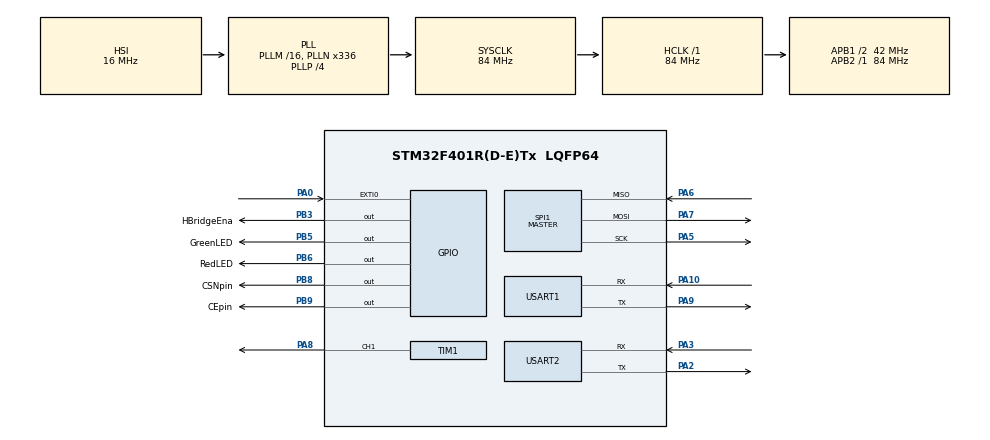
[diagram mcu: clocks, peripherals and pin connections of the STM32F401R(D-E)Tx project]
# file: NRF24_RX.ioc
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Mcu.Family=STM32F4
Mcu.Name=STM32F401R(D-E)Tx
Mcu.Package=LQFP64
NVIC.EXTI0_IRQn=true\:0\:0\:false\:false\:true\:true
NVIC.PriorityGroup=NVIC_PRIORITYGROUP_0
NVIC.TIM2_IRQn=true\:0\:0\:false\:false\:true\:true
NVIC.USART1_IRQn=true\:0\:0\:false\:false\:true\:true
PA0-WKUP.GPIO_ModeDefaultEXTI=GPIO_MODE_IT_FALLING
PA0-WKUP.Signal=GPXTI0
PA10.Mode=Asynchronous
PA10.Signal=USART1_RX
PA13.Mode=Serial_Wire
PA13.Signal=SYS_JTMS-SWDIO
PA14.Mode=Serial_Wire
PA14.Signal=SYS_JTCK-SWCLK
PA2.Mode=Asynchronous
PA2.Signal=USART2_TX
PA3.Mode=Asynchronous
PA3.Signal=USART2_RX
PA5.Mode=Full_Duplex_Master
PA5.Signal=SPI1_SCK
PA6.Mode=Full_Duplex_Master
PA6.Signal=SPI1_MISO
PA7.Mode=Full_Duplex_Master
PA7.Signal=SPI1_MOSI
PA8.Signal=S_TIM1_CH1
PA9.Mode=Asynchronous
PA9.Signal=USART1_TX
PB3.GPIO_Label=HBridgeEna
PB3.Signal=GPIO_Output
PB5.GPIO_Label=GreenLED
PB5.Signal=GPIO_Output
PB6.GPIO_Label=RedLED
PB6.Signal=GPIO_Output
PB8.GPIO_Label=CSNpin
PB8.Signal=GPIO_Output
PB9.GPIO_Label=CEpin
PB9.Signal=GPIO_Output
PH0\ -\ OSC_IN.Mode=HSE-External-Oscillator
PH0\ -\ OSC_IN.Signal=RCC_OSC_IN
PH1\ -\ OSC_OUT.Mode=HSE-External-Oscillator
PH1\ -\ OSC_OUT.Signal=RCC_OSC_OUT
ProjectManager.HeapSize=0x200
ProjectManager.StackSize=0x400
ProjectManager.TargetToolchain=SW4STM32
RCC.48MHZClocksFreq_Value=48000000
RCC.AHBFreq_Value=84000000
RCC.APB1CLKDivider=RCC_HCLK_DIV2
RCC.APB1Freq_Value=42000000
RCC.APB1TimFreq_Value=84000000
RCC.APB2Freq_Value=84000000
RCC.APB2TimFreq_Value=84000000
RCC.CortexFreq_Value=84000000
RCC.HCLKFreq_Value=84000000
RCC.HSE_VALUE=8000000
RCC.HSI_VALUE=16000000
RCC.LSE_VALUE=32768
RCC.PLLN=336
RCC.PLLP=RCC_PLLP_DIV4
RCC.PLLQ=7
RCC.SYSCLKFreq_VALUE=84000000
RCC.SYSCLKSource=RCC_SYSCLKSOURCE_PLLCLK
RCC.VCOOutputFreq_Value=336000000
SH.S_TIM1_CH1.0=TIM1_CH1,PWM Generation1 CH1
SPI1.BaudRatePrescaler=SPI_BAUDRATEPRESCALER_32
SPI1.Direction=SPI_DIRECTION_2LINES
SPI1.Mode=SPI_MODE_MASTER
SPI1.VirtualType=VM_MASTER
TIM1.Channel-PWM\ Generation1\ CH1=TIM_CHANNEL_1
TIM1.Period=100
TIM1.Prescaler=84
TIM1.Pulse-PWM\ Generation1\ CH1=50
TIM2.Period=2000
TIM2.Prescaler=42000
TIM2.TIM_MasterOutputTrigger=TIM_TRGO_UPDATE
USART1.VirtualMode=VM_ASYNC
USART2.VirtualMode=VM_ASYNC
VP_TIM2_VS_ClockSourceINT.Mode=Internal
board=NUCLEO-F401RE

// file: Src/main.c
/**
  ******************************************************************************
  * @file           : main.c
  * @brief          : Main program body
  ******************************************************************************
  ** This notice applies to any and all portions of this file
  * that are not between comment pairs USER CODE BEGIN and
  * USER CODE END. Other portions of this file, whether
  * inserted by the user or by software development tools
  * are owned by their respective copyright owners.
  *
  * COPYRIGHT(c) 2019 STMicroelectronics
  *
  * Redistribution and use in source and binary forms, with or without modification,
  * are permitted provided that the following conditions are met:
  *   1. Redistributions of source code must retain the above copyright notice,
  *      this list of conditions and the following disclaimer.
  *   2. Redistributions in binary form must reproduce the above copyright notice,
  *      this list of conditions and the following disclaimer in the documentation
  *      and/or other materials provided with the distribution.
  *   3. Neither the name of STMicroelectronics nor the names of its contributors
  *      may be used to endorse or promote products derived from this software
  *      without specific prior written permission.
  *
  * THIS SOFTWARE IS PROVIDED BY THE COPYRIGHT HOLDERS AND CONTRIBUTORS "AS IS"
  * AND ANY EXPRESS OR IMPLIED WARRANTIES, INCLUDING, BUT NOT LIMITED TO, THE
  * IMPLIED WARRANTIES OF MERCHANTABILITY AND FITNESS FOR A PARTICULAR PURPOSE ARE
  * DISCLAIMED. IN NO EVENT SHALL THE COPYRIGHT HOLDER OR CONTRIBUTORS BE LIABLE
  * FOR ANY DIRECT, INDIRECT, INCIDENTAL, SPECIAL, EXEMPLARY, OR CONSEQUENTIAL
  * DAMAGES (INCLUDING, BUT NOT LIMITED TO, PROCUREMENT OF SUBSTITUTE GOODS OR
  * SERVICES; LOSS OF USE, DATA, OR PROFITS; OR BUSINESS INTERRUPTION) HOWEVER
  * CAUSED AND ON ANY THEORY OF LIABILITY, WHETHER IN CONTRACT, STRICT LIABILITY,
  * OR TORT (INCLUDING NEGLIGENCE OR OTHERWISE) ARISING IN ANY WAY OUT OF THE USE
  * OF THIS SOFTWARE, EVEN IF ADVISED OF THE POSSIBILITY OF SUCH DAMAGE.
  *
  ******************************************************************************
  */
#include "main.h"
#include "stm32f4xx_hal.h"

/* USER CODE BEGIN Includes */
#include "MY_NRF24.h"
#include "dwt_stm32_delay.h"
#include "stdbool.h"
/* USER CODE END Includes */

SPI_HandleTypeDef hspi1;

TIM_HandleTypeDef htim1;
TIM_HandleTypeDef htim2;

UART_HandleTypeDef huart1;
UART_HandleTypeDef huart2;

/* USER CODE BEGIN PV */
/* Private variables ---------------------------------------------------------*/
uint64_t RxpipeAddrs = 0x11223344AA;
char myRxData[50];
char TestRadioEnable[32] = "ENABLE EXPERIENCE";
char TestRadioDisable[32] = "DISABLE EXPERIENCE";

uint8_t pData[1];
int counter = 0;
int threshold = 20;

bool Bluetooth_EXP_ENABLE = false;
bool Radio_EXP_ENABLE = false;
/* USER CODE END PV */

void SystemClock_Config(void);
static void MX_GPIO_Init(void);
static void MX_USART2_UART_Init(void);
static void MX_SPI1_Init(void);
static void MX_USART1_UART_Init(void);
static void MX_TIM1_Init(void);
static void MX_TIM2_Init(void);

void HAL_TIM_MspPostInit(TIM_HandleTypeDef *htim);

/* USER CODE BEGIN PFP */
/* Private function prototypes -----------------------------------------------*/

/* USER CODE END PFP */

int main(void)
{

  /* MCU Configuration----------------------------------------------------------*/

  /* Reset of all peripherals, Initializes the Flash interface and the Systick. */
  HAL_Init();

  /* Configure the system clock */
  SystemClock_Config();

  /* Initialize all configured peripherals */
  MX_GPIO_Init();
  MX_USART2_UART_Init();
  MX_SPI1_Init();
  MX_USART1_UART_Init();
  MX_TIM1_Init();
  MX_TIM2_Init();
  /* USER CODE BEGIN 2 */
  HAL_GPIO_WritePin(RedLED_GPIO_Port, RedLED_Pin, GPIO_PIN_SET); //Turn on Red LED (330ohm)
  HAL_GPIO_WritePin(GreenLED_GPIO_Port, GreenLED_Pin, GPIO_PIN_RESET); //Turn off Green LED (280ohm)
  HAL_GPIO_WritePin(HBridgeEna_GPIO_Port, HBridgeEna_Pin, GPIO_PIN_RESET); //Turn off H-Bridge

  HAL_TIM_Base_Start_IT(&htim2); //Enable TIM2 interrupt
  DWT_Delay_Init();
  HAL_UART_Receive_IT(&huart1, pData, sizeof(pData));

  //**** NRF24 CONFIG ****
  NRF24_begin(CEpin_GPIO_Port, CSNpin_Pin, CEpin_Pin, hspi1);
  nrf24_DebugUART_Init(huart2);
  printRadioSettings();
  NRF24_setAutoAck(false);
  NRF24_setChannel(52);
  NRF24_setPayloadSize(32);

  //**** NRF24 RECEPTION ****
  NRF24_openReadingPipe(1, 0x11223344AA);
  NRF24_startListening();
  NRF24_write_register(REG_CONFIG, NRF24_read_register(REG_CONFIG) & 0b00111111);
  /* USER CODE END 2 */

  /* Infinite loop */
  while (1)
  {

  }

}

void SystemClock_Config(void)
{

  RCC_OscInitTypeDef RCC_OscInitStruct;
  RCC_ClkInitTypeDef RCC_ClkInitStruct;

    /**Configure the main internal regulator output voltage
    */
  __HAL_RCC_PWR_CLK_ENABLE();

  __HAL_PWR_VOLTAGESCALING_CONFIG(PWR_REGULATOR_VOLTAGE_SCALE2);

    /**Initializes the CPU, AHB and APB busses clocks
    */
  RCC_OscInitStruct.OscillatorType = RCC_OSCILLATORTYPE_HSI;
  RCC_OscInitStruct.HSIState = RCC_HSI_ON;
  RCC_OscInitStruct.HSICalibrationValue = 16;
  RCC_OscInitStruct.PLL.PLLState = RCC_PLL_ON;
  RCC_OscInitStruct.PLL.PLLSource = RCC_PLLSOURCE_HSI;
  RCC_OscInitStruct.PLL.PLLM = 16;
  RCC_OscInitStruct.PLL.PLLN = 336;
  RCC_OscInitStruct.PLL.PLLP = RCC_PLLP_DIV4;
  RCC_OscInitStruct.PLL.PLLQ = 7;
  if (HAL_RCC_OscConfig(&RCC_OscInitStruct) != HAL_OK)
  {
    _Error_Handler(__FILE__, __LINE__);
  }

    /**Initializes the CPU, AHB and APB busses clocks
    */
  RCC_ClkInitStruct.ClockType = RCC_CLOCKTYPE_HCLK|RCC_CLOCKTYPE_SYSCLK
                              |RCC_CLOCKTYPE_PCLK1|RCC_CLOCKTYPE_PCLK2;
  RCC_ClkInitStruct.SYSCLKSource = RCC_SYSCLKSOURCE_PLLCLK;
  RCC_ClkInitStruct.AHBCLKDivider = RCC_SYSCLK_DIV1;
  RCC_ClkInitStruct.APB1CLKDivider = RCC_HCLK_DIV2;
  RCC_ClkInitStruct.APB2CLKDivider = RCC_HCLK_DIV1;

  if (HAL_RCC_ClockConfig(&RCC_ClkInitStruct, FLASH_LATENCY_2) != HAL_OK)
  {
    _Error_Handler(__FILE__, __LINE__);
  }

    /**Configure the Systick interrupt time
    */
  HAL_SYSTICK_Config(HAL_RCC_GetHCLKFreq()/1000);

    /**Configure the Systick
    */
  HAL_SYSTICK_CLKSourceConfig(SYSTICK_CLKSOURCE_HCLK);

  /* SysTick_IRQn interrupt configuration */
  HAL_NVIC_SetPriority(SysTick_IRQn, 0, 0);
}

/* SPI1 init function */
static void MX_SPI1_Init(void)
{

  /* SPI1 parameter configuration*/
  hspi1.Instance = SPI1;
  hspi1.Init.Mode = SPI_MODE_MASTER;
  hspi1.Init.Direction = SPI_DIRECTION_2LINES;
  hspi1.Init.DataSize = SPI_DATASIZE_8BIT;
  hspi1.Init.CLKPolarity = SPI_POLARITY_LOW;
  hspi1.Init.CLKPhase = SPI_PHASE_1EDGE;
  hspi1.Init.NSS = SPI_NSS_SOFT;
  hspi1.Init.BaudRatePrescaler = SPI_BAUDRATEPRESCALER_32;
  hspi1.Init.FirstBit = SPI_FIRSTBIT_MSB;
  hspi1.Init.TIMode = SPI_TIMODE_DISABLE;
  hspi1.Init.CRCCalculation = SPI_CRCCALCULATION_DISABLE;
  hspi1.Init.CRCPolynomial = 10;
  if (HAL_SPI_Init(&hspi1) != HAL_OK)
  {
    _Error_Handler(__FILE__, __LINE__);
  }

}

/* TIM1 init function */
static void MX_TIM1_Init(void)
{

  TIM_MasterConfigTypeDef sMasterConfig;
  TIM_OC_InitTypeDef sConfigOC;
  TIM_BreakDeadTimeConfigTypeDef sBreakDeadTimeConfig;

  htim1.Instance = TIM1;
  htim1.Init.Prescaler = 84;
  htim1.Init.CounterMode = TIM_COUNTERMODE_UP;
  htim1.Init.Period = 100;
  htim1.Init.ClockDivision = TIM_CLOCKDIVISION_DIV1;
  htim1.Init.RepetitionCounter = 0;
  if (HAL_TIM_PWM_Init(&htim1) != HAL_OK)
  {
    _Error_Handler(__FILE__, __LINE__);
  }

  sMasterConfig.MasterOutputTrigger = TIM_TRGO_RESET;
  sMasterConfig.MasterSlaveMode = TIM_MASTERSLAVEMODE_DISABLE;
  if (HAL_TIMEx_MasterConfigSynchronization(&htim1, &sMasterConfig) != HAL_OK)
  {
    _Error_Handler(__FILE__, __LINE__);
  }

  sConfigOC.OCMode = TIM_OCMODE_PWM1;
  sConfigOC.Pulse = 100;
  sConfigOC.OCPolarity = TIM_OCPOLARITY_HIGH;
  sConfigOC.OCNPolarity = TIM_OCNPOLARITY_HIGH;
  sConfigOC.OCFastMode = TIM_OCFAST_DISABLE;
  sConfigOC.OCIdleState = TIM_OCIDLESTATE_RESET;
  sConfigOC.OCNIdleState = TIM_OCNIDLESTATE_RESET;
  if (HAL_TIM_PWM_ConfigChannel(&htim1, &sConfigOC, TIM_CHANNEL_1) != HAL_OK)
  {
    _Error_Handler(__FILE__, __LINE__);
  }

  sBreakDeadTimeConfig.OffStateRunMode = TIM_OSSR_DISABLE;
  sBreakDeadTimeConfig.OffStateIDLEMode = TIM_OSSI_DISABLE;
  sBreakDeadTimeConfig.LockLevel = TIM_LOCKLEVEL_OFF;
  sBreakDeadTimeConfig.DeadTime = 0;
  sBreakDeadTimeConfig.BreakState = TIM_BREAK_DISABLE;
  sBreakDeadTimeConfig.BreakPolarity = TIM_BREAKPOLARITY_HIGH;
  sBreakDeadTimeConfig.AutomaticOutput = TIM_AUTOMATICOUTPUT_DISABLE;
  if (HAL_TIMEx_ConfigBreakDeadTime(&htim1, &sBreakDeadTimeConfig) != HAL_OK)
  {
    _Error_Handler(__FILE__, __LINE__);
  }

  HAL_TIM_MspPostInit(&htim1);

}

/* TIM2 init function */
static void MX_TIM2_Init(void)
{

  TIM_ClockConfigTypeDef sClockSourceConfig;
  TIM_MasterConfigTypeDef sMasterConfig;

  htim2.Instance = TIM2;
  htim2.Init.Prescaler = 42000;
  htim2.Init.CounterMode = TIM_COUNTERMODE_UP;
  htim2.Init.Period = 2000;
  htim2.Init.ClockDivision = TIM_CLOCKDIVISION_DIV1;
  if (HAL_TIM_Base_Init(&htim2) != HAL_OK)
  {
    _Error_Handler(__FILE__, __LINE__);
  }

  sClockSourceConfig.ClockSource = TIM_CLOCKSOURCE_INTERNAL;
  if (HAL_TIM_ConfigClockSource(&htim2, &sClockSourceConfig) != HAL_OK)
  {
    _Error_Handler(__FILE__, __LINE__);
  }

  sMasterConfig.MasterOutputTrigger = TIM_TRGO_UPDATE;
  sMasterConfig.MasterSlaveMode = TIM_MASTERSLAVEMODE_DISABLE;
  if (HAL_TIMEx_MasterConfigSynchronization(&htim2, &sMasterConfig) != HAL_OK)
  {
    _Error_Handler(__FILE__, __LINE__);
  }

}

/* USART1 init function */
static void MX_USART1_UART_Init(void)
{

  huart1.Instance = USART1;
  huart1.Init.BaudRate = 115200;
  huart1.Init.WordLength = UART_WORDLENGTH_8B;
  huart1.Init.StopBits = UART_STOPBITS_1;
  huart1.Init.Parity = UART_PARITY_NONE;
  huart1.Init.Mode = UART_MODE_TX_RX;
  huart1.Init.HwFlowCtl = UART_HWCONTROL_NONE;
  huart1.Init.OverSampling = UART_OVERSAMPLING_16;
  if (HAL_UART_Init(&huart1) != HAL_OK)
  {
    _Error_Handler(__FILE__, __LINE__);
  }

}

/* USART2 init function */
static void MX_USART2_UART_Init(void)
{

  huart2.Instance = USART2;
  huart2.Init.BaudRate = 115200;
  huart2.Init.WordLength = UART_WORDLENGTH_8B;
  huart2.Init.StopBits = UART_STOPBITS_1;
  huart2.Init.Parity = UART_PARITY_NONE;
  huart2.Init.Mode = UART_MODE_TX_RX;
  huart2.Init.HwFlowCtl = UART_HWCONTROL_NONE;
  huart2.Init.OverSampling = UART_OVERSAMPLING_16;
  if (HAL_UART_Init(&huart2) != HAL_OK)
  {
    _Error_Handler(__FILE__, __LINE__);
  }

}

/** Configure pins as
        * Analog
        * Input
        * Output
        * EVENT_OUT
        * EXTI
*/
static void MX_GPIO_Init(void)
{

  GPIO_InitTypeDef GPIO_InitStruct;

  /* GPIO Ports Clock Enable */
  __HAL_RCC_GPIOH_CLK_ENABLE();
  __HAL_RCC_GPIOA_CLK_ENABLE();
  __HAL_RCC_GPIOB_CLK_ENABLE();

  /*Configure GPIO pin Output Level */
  HAL_GPIO_WritePin(GPIOB, HBridgeEna_Pin|GreenLED_Pin|RedLED_Pin|CSNpin_Pin
                          |CEpin_Pin, GPIO_PIN_RESET);

  /*Configure GPIO pin : PA0 */
  GPIO_InitStruct.Pin = GPIO_PIN_0;
  GPIO_InitStruct.Mode = GPIO_MODE_IT_FALLING;
  GPIO_InitStruct.Pull = GPIO_NOPULL;
  HAL_GPIO_Init(GPIOA, &GPIO_InitStruct);

  /*Configure GPIO pins : HBridgeEna_Pin GreenLED_Pin RedLED_Pin CSNpin_Pin
                           CEpin_Pin */
  GPIO_InitStruct.Pin = HBridgeEna_Pin|GreenLED_Pin|RedLED_Pin|CSNpin_Pin
                          |CEpin_Pin;
  GPIO_InitStruct.Mode = GPIO_MODE_OUTPUT_PP;
  GPIO_InitStruct.Pull = GPIO_NOPULL;
  GPIO_InitStruct.Speed = GPIO_SPEED_FREQ_LOW;
  HAL_GPIO_Init(GPIOB, &GPIO_InitStruct);

  /* EXTI interrupt init*/
  HAL_NVIC_SetPriority(EXTI0_IRQn, 0, 0);
  HAL_NVIC_EnableIRQ(EXTI0_IRQn);

}

/* USER CODE BEGIN 4 */

void HAL_UART_RxCpltCallback(UART_HandleTypeDef *huarts){

	HAL_UART_Receive_IT(&huart1, pData, sizeof(pData));
	if((pData[0]=='S')){
		Bluetooth_EXP_ENABLE = true;

	}
	if(pData[0]=='E')
	{
		Bluetooth_EXP_ENABLE = false;
	}
}

void HAL_GPIO_EXTI_Callback(uint16_t GPIO_Pin)
{
  /* Prevent unused argument(s) compilation warning */
  UNUSED(GPIO_Pin);
  /* NOTE: This function Should not be modified, when the callback is needed,
           the HAL_GPIO_EXTI_Callback could be implemented in the user file
   */
  if(NRF24_available())
  {
	  NRF24_read(myRxData, 32);

	  myRxData[32] = '\r'; myRxData[32+1] = '\n';
	  HAL_UART_Transmit(&huart2, (uint8_t *)myRxData, 32+2, 10);
  }

  if(strcmp(myRxData,TestRadioEnable) == 0)
  {
	  HAL_UART_Transmit(&huart2, (uint8_t *)"  -  ENABLED \n", 14, 10);
	  Radio_EXP_ENABLE = true;
  }
  if(strcmp(myRxData,TestRadioDisable) == 0)
  {
	  HAL_UART_Transmit(&huart2, (uint8_t *)"  -  ENABLED \n", 14, 10);
	  Radio_EXP_ENABLE = false;
  }
}

void HAL_TIM_PeriodElapsedCallback(TIM_HandleTypeDef *htim)
{
  /* Prevent unused argument(s) compilation warning */
  UNUSED(htim);
  /* NOTE : This function Should not be modified, when the callback is needed,
            the __HAL_TIM_PeriodElapsedCallback could be implemented in the user file
   */
 // bool EXP_ENA = Bluetooth_EXP_ENABLE & Radio_EXP_ENABLE;
  bool EXP_ENA = Radio_EXP_ENABLE;

  if(EXP_ENA & (counter <= threshold))
  {
	  counter++;
	  HAL_GPIO_WritePin(RedLED_GPIO_Port, RedLED_Pin, GPIO_PIN_RESET); //Turn off Red LED
	  HAL_GPIO_WritePin(GreenLED_GPIO_Port, GreenLED_Pin, GPIO_PIN_SET); //Turn on Green LED
	  HAL_GPIO_WritePin(HBridgeEna_GPIO_Port, HBridgeEna_Pin, GPIO_PIN_SET); //Turn on H-Brisge

	  HAL_TIM_PWM_Start(&htim1, TIM_CHANNEL_1); //Start PWM
  }

  if((!EXP_ENA) | (counter > threshold))
  {
		//HAL_TIM_Base_Stop_IT(&htim2);

		HAL_GPIO_WritePin(RedLED_GPIO_Port, RedLED_Pin, GPIO_PIN_SET); //Turn on Red LED
		HAL_GPIO_WritePin(GreenLED_GPIO_Port, GreenLED_Pin, GPIO_PIN_RESET); //Turn off Green LED
		HAL_GPIO_WritePin(HBridgeEna_GPIO_Port, HBridgeEna_Pin, GPIO_PIN_RESET); //Turn off H-Bridge

		HAL_TIM_PWM_Stop(&htim1, TIM_CHANNEL_1);
  }
}
/* USER CODE END 4 */

void _Error_Handler(char *file, int line)
{
  while(1)
  {
  }
}

/************************ (C) COPYRIGHT STMicroelectronics *****END OF FILE****/
